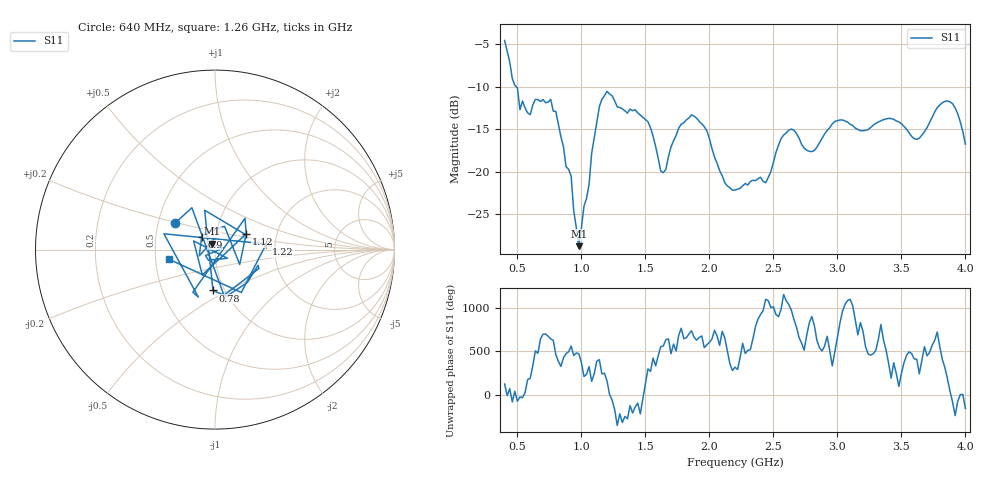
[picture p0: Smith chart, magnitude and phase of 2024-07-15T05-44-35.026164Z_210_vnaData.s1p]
!Created with skrf (http://scikit-rf.org).
# Hz S RI R 50.0
!freq ReS11 ImS11
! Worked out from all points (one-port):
!   181 points, 400 MHz to 4 GHz, reference 50 ohm
!   lowest |S11| = -28.7 dB at 980 MHz (marker M1), VSWR 1.08, Z = 48.5 + j3.26 ohm
!   |S11| at or under -10 dB: 492.8 MHz to end of sweep
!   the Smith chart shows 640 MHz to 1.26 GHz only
!   S11 on the Smith chart (normalised r, x): 640 MHz: 0.61, +0.20; 780 MHz: 0.88, -0.42; 900 MHz: 0.85, +0.12; 1.12 GHz: 1.39, +0.26; 1.22 GHz: 1.79, +0.12; 1.26 GHz: 0.59, -0.07
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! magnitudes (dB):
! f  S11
! 400 MHz  -4.5
! 520 MHz  -12.7
! 640 MHz  -11.5
! 780 MHz  -12.8
! 860 MHz  -17.0
! 900 MHz  -19.7
! 920 MHz  -20.5
! 980 MHz  -28.7
! 1.12 GHz  -14.2
! 1.22 GHz  -10.8
! 1.26 GHz  -11.6
! 1.3 GHz  -12.4
! 1.52 GHz  -14.1
! 1.64 GHz  -20.1
! 1.76 GHz  -14.8
! 1.94 GHz  -14.3
! 2.12 GHz  -21.3
! 2.2 GHz  -22.1
! 2.44 GHz  -21.3
! 2.56 GHz  -16.1
! 2.66 GHz  -15.1
! 2.8 GHz  -17.6
! 2.98 GHz  -14.1
! 3.1 GHz  -14.4
! 3.56 GHz  -15.4
! 3.64 GHz  -16.0
! 3.86 GHz  -11.6
! 4 GHz  -16.7
